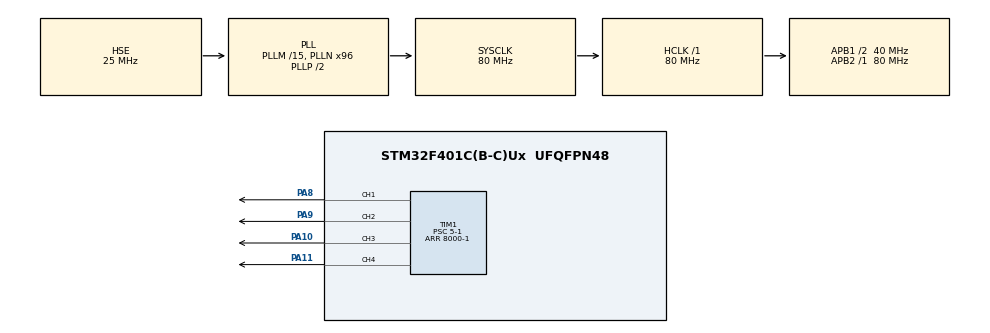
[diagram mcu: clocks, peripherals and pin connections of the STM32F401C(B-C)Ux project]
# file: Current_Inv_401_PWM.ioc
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Dma.Request0=TIM1_UP
Dma.TIM1_UP.0.Direction=DMA_MEMORY_TO_PERIPH
Dma.TIM1_UP.0.FIFOMode=DMA_FIFOMODE_DISABLE
Dma.TIM1_UP.0.Instance=DMA2_Stream5
Dma.TIM1_UP.0.MemDataAlignment=DMA_MDATAALIGN_HALFWORD
Dma.TIM1_UP.0.MemInc=DMA_MINC_ENABLE
Dma.TIM1_UP.0.Mode=DMA_CIRCULAR
Dma.TIM1_UP.0.PeriphDataAlignment=DMA_PDATAALIGN_HALFWORD
Dma.TIM1_UP.0.PeriphInc=DMA_PINC_DISABLE
Dma.TIM1_UP.0.Priority=DMA_PRIORITY_LOW
Mcu.Family=STM32F4
Mcu.Name=STM32F401C(B-C)Ux
Mcu.Package=UFQFPN48
NVIC.DMA2_Stream5_IRQn=true\:0\:0\:false\:false\:true\:false\:true\:true
NVIC.PriorityGroup=NVIC_PRIORITYGROUP_4
PA10.Signal=S_TIM1_CH3
PA11.Signal=S_TIM1_CH4
PA13.Mode=Serial_Wire
PA13.Signal=SYS_JTMS-SWDIO
PA14.Mode=Serial_Wire
PA14.Signal=SYS_JTCK-SWCLK
PA8.Signal=S_TIM1_CH1
PA9.Signal=S_TIM1_CH2
PH0\ -\ OSC_IN.Mode=HSE-External-Oscillator
PH0\ -\ OSC_IN.Signal=RCC_OSC_IN
PH1\ -\ OSC_OUT.Mode=HSE-External-Oscillator
PH1\ -\ OSC_OUT.Signal=RCC_OSC_OUT
ProjectManager.HeapSize=0x200
ProjectManager.StackSize=0x400
ProjectManager.TargetToolchain=STM32CubeIDE
RCC.48MHZClocksFreq_Value=40000000
RCC.AHBFreq_Value=80000000
RCC.APB1CLKDivider=RCC_HCLK_DIV2
RCC.APB1Freq_Value=40000000
RCC.APB1TimFreq_Value=80000000
RCC.APB2Freq_Value=80000000
RCC.APB2TimFreq_Value=80000000
RCC.CortexFreq_Value=80000000
RCC.HCLKFreq_Value=80000000
RCC.HSE_VALUE=25000000
RCC.HSI_VALUE=16000000
RCC.LSE_VALUE=32768
RCC.PLLM=15
RCC.PLLN=96
RCC.PLLSourceVirtual=RCC_PLLSOURCE_HSE
RCC.SYSCLKFreq_VALUE=80000000
RCC.SYSCLKSource=RCC_SYSCLKSOURCE_PLLCLK
RCC.VCOOutputFreq_Value=160000000
SH.S_TIM1_CH1.0=TIM1_CH1,PWM Generation1 CH1
SH.S_TIM1_CH2.0=TIM1_CH2,PWM Generation2 CH2
SH.S_TIM1_CH3.0=TIM1_CH3,PWM Generation3 CH3
SH.S_TIM1_CH4.0=TIM1_CH4,PWM Generation4 CH4
STMicroelectronics.X-CUBE-ALGOBUILD.1.3.0.LibraryCcDSPOoLibraryJjDSPOoLibrary=true
TIM1.Channel-PWM\ Generation1\ CH1=TIM_CHANNEL_1
TIM1.Channel-PWM\ Generation2\ CH2=TIM_CHANNEL_2
TIM1.Channel-PWM\ Generation3\ CH3=TIM_CHANNEL_3
TIM1.Channel-PWM\ Generation4\ CH4=TIM_CHANNEL_4
TIM1.Period=8000-1
TIM1.Prescaler=5-1
VP_STMicroelectronics.X-CUBE-ALGOBUILD_VS_DSPOoLibraryJjLibrary_1.3.0_1.3.0.Mode=DSPOoLibraryJjLibrary
VP_TIM1_VS_ClockSourceINT.Mode=Internal
board=custom

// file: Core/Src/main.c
/* USER CODE BEGIN Header */
/**
  ******************************************************************************
  * @file           : main.c
  * @brief          : Main program body
  ******************************************************************************
  * @attention
  *
  * Copyright (c) 2024 STMicroelectronics.
  * All rights reserved.
  *
  * This software is licensed under terms that can be found in the LICENSE file
  * in the root directory of this software component.
  * If no LICENSE file comes with this software, it is provided AS-IS.
  *
  ******************************************************************************
  */
/* USER CODE END Header */
#include "main.h"

/* USER CODE BEGIN Includes */
#include "arm_math.h"
/* USER CODE END Includes */

TIM_HandleTypeDef htim1;
DMA_HandleTypeDef hdma_tim1_up;

/* USER CODE BEGIN PV */
uint16_t sindat[156] = {0,};
uint16_t A = 8000;
uint8_t i;
uint32_t angle = 0;
/* USER CODE END PV */

void SystemClock_Config(void);
static void MX_GPIO_Init(void);
static void MX_DMA_Init(void);
static void MX_TIM1_Init(void);

int main(void)
{

  /* MCU Configuration--------------------------------------------------------*/

  /* Reset of all peripherals, Initializes the Flash interface and the Systick. */
  HAL_Init();

  /* Configure the system clock */
  SystemClock_Config();

  /* Initialize all configured peripherals */
  MX_GPIO_Init();
  MX_DMA_Init();
  MX_TIM1_Init();
  /* USER CODE BEGIN 2 */
  for (i=0; i<20; i++) {	//20 точек для несущей частоты 2кГц.
           angle = i * 9;		//угол
           sindat[4 * i] = A * (arm_sin_f32((angle * PI)/180));//заполняем массив
           sindat[(4 * i)+1] = A * (arm_sin_f32((angle * PI)/180));
           sindat[(4 * i)+78] = A * (arm_sin_f32((angle * PI)/180));
           sindat[(4 * i)+79] = A * (arm_sin_f32((angle * PI)/180));
                }
    sindat[0] = 560U;// костыли (куда без них)
    sindat[1] = 560U;

    HAL_TIM_DMABurst_MultiWriteStart(&htim1, TIM_DMABASE_CCR1, TIM_DMA_UPDATE, (uint32_t*)sindat,
      	  	   	   	   	   	   	   	   	   	   	   	   	   	   TIM_DMABURSTLENGTH_4TRANSFERS, 156);
    HAL_TIM_PWM_Start(&htim1, TIM_CHANNEL_1);
    HAL_TIM_PWM_Start(&htim1, TIM_CHANNEL_2);
    HAL_TIM_PWM_Start(&htim1, TIM_CHANNEL_3);
    HAL_TIM_PWM_Start(&htim1, TIM_CHANNEL_4);

  /* USER CODE END 2 */

  /* Infinite loop */
  while (1)
  {

  }
}

void SystemClock_Config(void)
{
  RCC_OscInitTypeDef RCC_OscInitStruct = {0};
  RCC_ClkInitTypeDef RCC_ClkInitStruct = {0};

  /** Configure the main internal regulator output voltage
  */
  __HAL_RCC_PWR_CLK_ENABLE();
  __HAL_PWR_VOLTAGESCALING_CONFIG(PWR_REGULATOR_VOLTAGE_SCALE2);

  /** Initializes the RCC Oscillators according to the specified parameters
  * in the RCC_OscInitTypeDef structure.
  */
  RCC_OscInitStruct.OscillatorType = RCC_OSCILLATORTYPE_HSE;
  RCC_OscInitStruct.HSEState = RCC_HSE_ON;
  RCC_OscInitStruct.PLL.PLLState = RCC_PLL_ON;
  RCC_OscInitStruct.PLL.PLLSource = RCC_PLLSOURCE_HSE;
  RCC_OscInitStruct.PLL.PLLM = 15;
  RCC_OscInitStruct.PLL.PLLN = 96;
  RCC_OscInitStruct.PLL.PLLP = RCC_PLLP_DIV2;
  RCC_OscInitStruct.PLL.PLLQ = 4;
  if (HAL_RCC_OscConfig(&RCC_OscInitStruct) != HAL_OK)
  {
    Error_Handler();
  }

  /** Initializes the CPU, AHB and APB buses clocks
  */
  RCC_ClkInitStruct.ClockType = RCC_CLOCKTYPE_HCLK|RCC_CLOCKTYPE_SYSCLK
                              |RCC_CLOCKTYPE_PCLK1|RCC_CLOCKTYPE_PCLK2;
  RCC_ClkInitStruct.SYSCLKSource = RCC_SYSCLKSOURCE_PLLCLK;
  RCC_ClkInitStruct.AHBCLKDivider = RCC_SYSCLK_DIV1;
  RCC_ClkInitStruct.APB1CLKDivider = RCC_HCLK_DIV2;
  RCC_ClkInitStruct.APB2CLKDivider = RCC_HCLK_DIV1;

  if (HAL_RCC_ClockConfig(&RCC_ClkInitStruct, FLASH_LATENCY_2) != HAL_OK)
  {
    Error_Handler();
  }
}

static void MX_TIM1_Init(void)
{

  TIM_ClockConfigTypeDef sClockSourceConfig = {0};
  TIM_MasterConfigTypeDef sMasterConfig = {0};
  TIM_OC_InitTypeDef sConfigOC = {0};
  TIM_BreakDeadTimeConfigTypeDef sBreakDeadTimeConfig = {0};

  htim1.Instance = TIM1;
  htim1.Init.Prescaler = 5-1;
  htim1.Init.CounterMode = TIM_COUNTERMODE_UP;
  htim1.Init.Period = 8000-1;
  htim1.Init.ClockDivision = TIM_CLOCKDIVISION_DIV1;
  htim1.Init.RepetitionCounter = 0;
  htim1.Init.AutoReloadPreload = TIM_AUTORELOAD_PRELOAD_DISABLE;
  if (HAL_TIM_Base_Init(&htim1) != HAL_OK)
  {
    Error_Handler();
  }
  sClockSourceConfig.ClockSource = TIM_CLOCKSOURCE_INTERNAL;
  if (HAL_TIM_ConfigClockSource(&htim1, &sClockSourceConfig) != HAL_OK)
  {
    Error_Handler();
  }
  if (HAL_TIM_PWM_Init(&htim1) != HAL_OK)
  {
    Error_Handler();
  }
  sMasterConfig.MasterOutputTrigger = TIM_TRGO_RESET;
  sMasterConfig.MasterSlaveMode = TIM_MASTERSLAVEMODE_DISABLE;
  if (HAL_TIMEx_MasterConfigSynchronization(&htim1, &sMasterConfig) != HAL_OK)
  {
    Error_Handler();
  }
  sConfigOC.OCMode = TIM_OCMODE_PWM1;
  sConfigOC.Pulse = 0;
  sConfigOC.OCPolarity = TIM_OCPOLARITY_HIGH;
  sConfigOC.OCNPolarity = TIM_OCNPOLARITY_HIGH;
  sConfigOC.OCFastMode = TIM_OCFAST_DISABLE;
  sConfigOC.OCIdleState = TIM_OCIDLESTATE_RESET;
  sConfigOC.OCNIdleState = TIM_OCNIDLESTATE_RESET;
  if (HAL_TIM_PWM_ConfigChannel(&htim1, &sConfigOC, TIM_CHANNEL_1) != HAL_OK)
  {
    Error_Handler();
  }
  if (HAL_TIM_PWM_ConfigChannel(&htim1, &sConfigOC, TIM_CHANNEL_2) != HAL_OK)
  {
    Error_Handler();
  }
  if (HAL_TIM_PWM_ConfigChannel(&htim1, &sConfigOC, TIM_CHANNEL_3) != HAL_OK)
  {
    Error_Handler();
  }
  if (HAL_TIM_PWM_ConfigChannel(&htim1, &sConfigOC, TIM_CHANNEL_4) != HAL_OK)
  {
    Error_Handler();
  }
  sBreakDeadTimeConfig.OffStateRunMode = TIM_OSSR_DISABLE;
  sBreakDeadTimeConfig.OffStateIDLEMode = TIM_OSSI_DISABLE;
  sBreakDeadTimeConfig.LockLevel = TIM_LOCKLEVEL_OFF;
  sBreakDeadTimeConfig.DeadTime = 0;
  sBreakDeadTimeConfig.BreakState = TIM_BREAK_DISABLE;
  sBreakDeadTimeConfig.BreakPolarity = TIM_BREAKPOLARITY_HIGH;
  sBreakDeadTimeConfig.AutomaticOutput = TIM_AUTOMATICOUTPUT_DISABLE;
  if (HAL_TIMEx_ConfigBreakDeadTime(&htim1, &sBreakDeadTimeConfig) != HAL_OK)
  {
    Error_Handler();
  }
  HAL_TIM_MspPostInit(&htim1);

}

static void MX_DMA_Init(void)
{

  /* DMA controller clock enable */
  __HAL_RCC_DMA2_CLK_ENABLE();

  /* DMA interrupt init */
  /* DMA2_Stream5_IRQn interrupt configuration */
  HAL_NVIC_SetPriority(DMA2_Stream5_IRQn, 0, 0);
  HAL_NVIC_EnableIRQ(DMA2_Stream5_IRQn);

}

static void MX_GPIO_Init(void)
{

  /* GPIO Ports Clock Enable */
  __HAL_RCC_GPIOH_CLK_ENABLE();
  __HAL_RCC_GPIOA_CLK_ENABLE();

}

void Error_Handler(void)
{
  __disable_irq();
  while (1)
  {
  }
}
